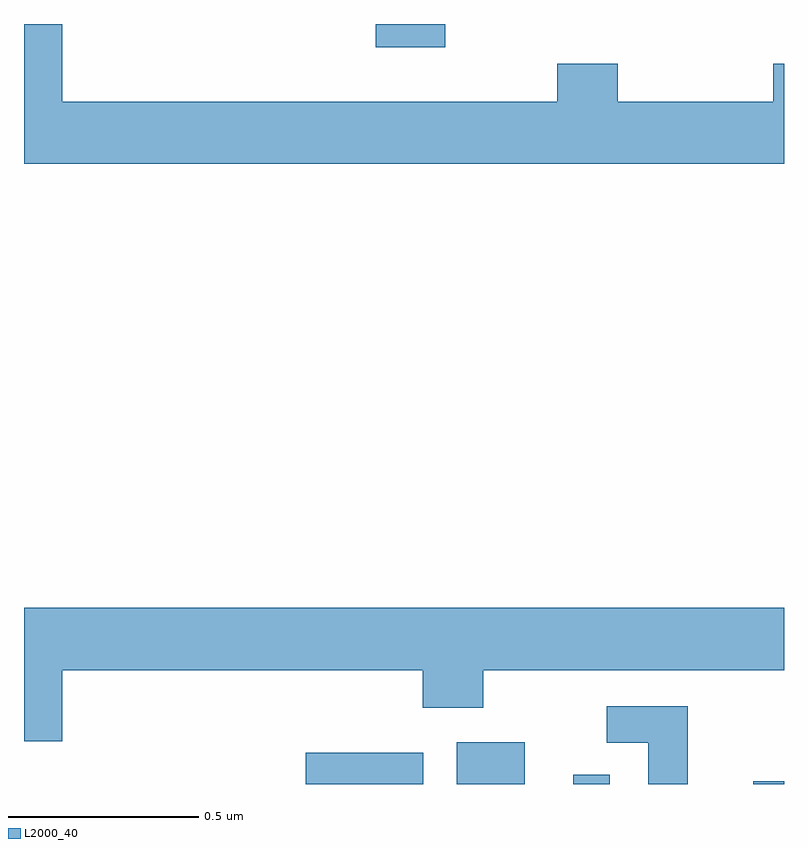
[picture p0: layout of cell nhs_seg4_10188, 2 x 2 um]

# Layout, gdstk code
import gdstk
lib = gdstk.Library(unit=1e-6, precision=1e-09)
def R(c, l, rs):  # rectangles x0, y0, x1, y1
    for r in rs: c.add(gdstk.rectangle(r[:2], r[2:], *l))
def P(c, l, *ps):  # polygons
    for p in ps: c.add(gdstk.Polygon(p, *l))
L2000_40 = (2000, 40)

nhs_seg4_10188 = lib.new_cell('nhs_seg4_10188')
R(nhs_seg4_10188, L2000_40, [(237.741,749.9,238.05,749.982), (238.139,749.9,238.318,750.01), (238.446,749.9,238.542,749.924), (238.919,749.9,239,749.907), (237.926,751.839,238.109,751.9)])
P(nhs_seg4_10188, L2000_40, [(239,751.795),(238.972,751.795),(238.972,751.696),(238.563,751.696),(238.563,751.795),(238.403,751.795),(238.403,751.696),(237.1,751.696),(237.1,751.9),(237,751.9),(237,751.532),(239,751.532)],
  [(237.1,750.2),(238.049,750.2),(238.049,750.101),(238.209,750.101),(238.209,750.2),(239,750.2),(239,750.364),(237,750.364),(237,750.012),(237.1,750.012)],
  [(238.747,750.105),(238.533,750.105),(238.533,750.009),(238.643,750.009),(238.643,749.9),(238.747,749.9)])

lib.write_gds('nhs_seg4_10188.gds')
